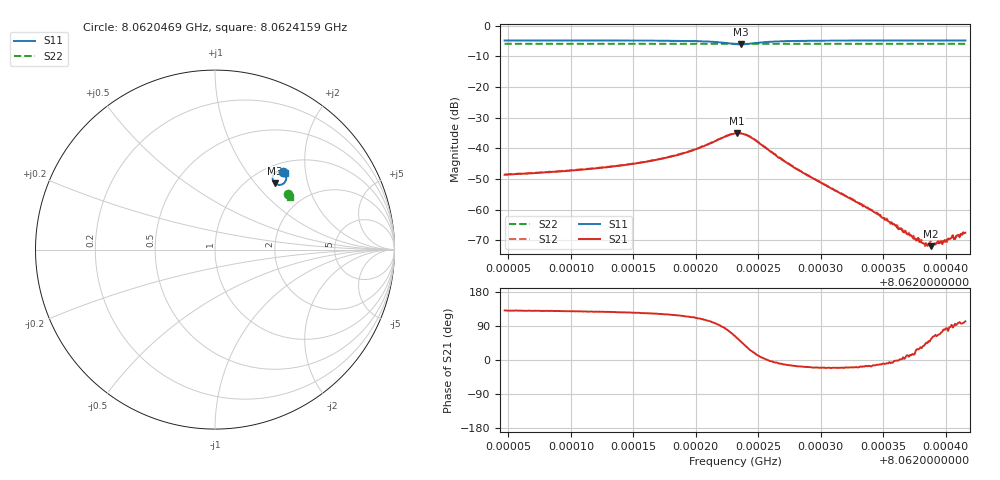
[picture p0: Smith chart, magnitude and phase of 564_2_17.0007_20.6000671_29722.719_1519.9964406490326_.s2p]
#  HZ  S  RI  R  50.00
! Rohde & Schwarz Vector Network Analyzer
! Rohde-Schwarz,ZNB20-2Port,1311601062101988,3.16
! Created: UTC 3/20/2024, 11:17:20 PM
! freq[Hz]  re:S11  im:S11  re:S21  im:S21  re:S12  im:S12  re:S22  im:S22
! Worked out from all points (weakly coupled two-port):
!   401 points, 8.0620469 GHz to 8.0624159 GHz, reference 50 ohm
!   highest |S21| = -35.02 dB at 8.0622333 GHz (marker M1); lowest = -71.8 dB at 8.0623882 GHz (marker M2)
!   lowest |S11| = -6.1 dB at 8.062236 GHz (marker M3), VSWR 2.99, Z = 64.7 + j63.7 ohm
!   |S11| at or under -10 dB: nowhere
!   |S22| runs from -5.9 to -5.9 dB; largest |S21 - S12| = 0.0011
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8.06204689e9  0.3801 0.4327  -0.00242 0.0028  -0.00227 0.00298  0.4044 0.3088
8.0621087e9  0.3857 0.4269  -0.00279 0.00353  -0.00256 0.00372  0.4067 0.3056
8.06214007e9  0.3892 0.4223  -0.00308 0.00427  -0.00284 0.00445  0.4078 0.3039
8.06217052e9  0.3936 0.415  -0.00348 0.00562  -0.00318 0.00588  0.4089 0.302
8.06219543e9  0.3969 0.4023  -0.00359 0.00821  -0.00314 0.00851  0.4095 0.3001
8.06221757e9  0.3891 0.3753  -0.000876 0.0138  -0.000188 0.0138  0.4097 0.298
8.06223141e9  0.351 0.3613  0.00793 0.0157  0.00883 0.0152  0.4082 0.2972
8.06223325e9  0.3438 0.3635  0.00953 0.015  0.0104 0.0145  0.4081 0.2975
8.06223602e9  0.3338 0.3698  0.0115 0.0132  0.0124 0.0127  0.4078 0.2976
8.06224524e9  0.321 0.4026  0.0135 0.0055  0.0141 0.00475  0.4079 0.2988
8.06227108e9  0.3524 0.4361  0.00602 -0.00124  0.006 -0.00165  0.4106 0.2987
8.06229322e9  0.3668 0.4359  0.0031 -0.00112  0.00305 -0.00128  0.4122 0.2975
8.06234304e9  0.38 0.431  0.000873 -0.000224  0.000911 -0.000302  0.4143 0.2946
8.06235503e9  0.3818 0.4299  0.000628 -6.18e-05  0.000624 -0.000106  0.4146 0.294
8.0623781e9  0.3847 0.428  0.000308 0.000161  0.000292 0.000127  0.4156 0.2928
8.06238086e9  0.3851 0.4278  0.000247 0.000151  0.000273 0.000171  0.4156 0.2926
8.06238455e9  0.3855 0.4275  0.000192 0.000195  0.000258 0.000157  0.4158 0.2925
8.06238824e9  0.3859 0.4271  0.000147 0.00021  0.000178 0.000243  0.4158 0.2921
8.06239931e9  0.387 0.4263  5.57e-05 0.000308  0.000115 0.000298  0.4162 0.2917
8.06240393e9  0.3874 0.426  1.56e-05 0.000335  4.81e-05 0.000339  0.4165 0.2915
8.06240946e9  0.388 0.4256  -3.69e-05 0.000375  -1.6e-05 0.000368  0.4168 0.291
8.06241592e9  0.3885 0.4252  -8.76e-05 0.000411  -7.32e-05 0.000408  0.4169 0.2908
